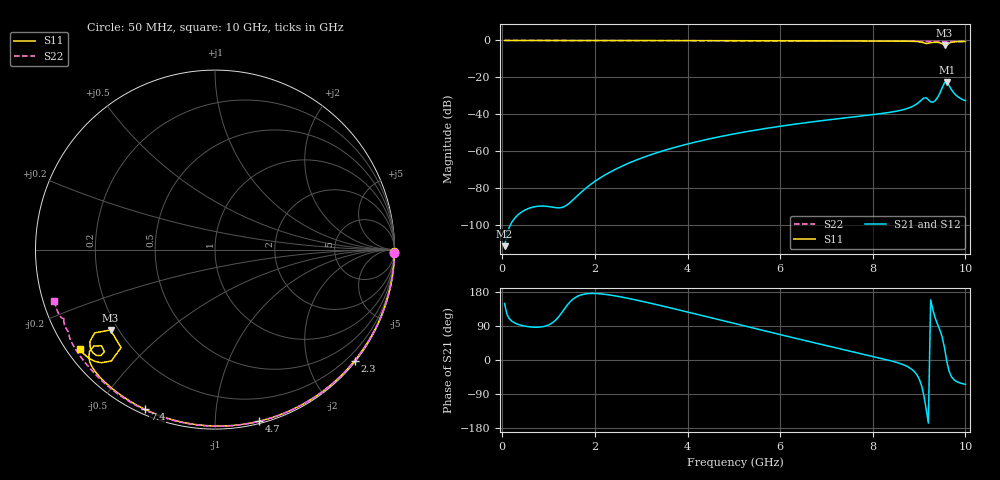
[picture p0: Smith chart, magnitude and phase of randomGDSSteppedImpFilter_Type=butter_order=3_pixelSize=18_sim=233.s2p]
! freq	dB(S11)	phase(S11)	dB(S12)	phase(S12)
!  dB(S21)	phase(S21)	dB(S22)	phase(S22)
!S-par simulation data
#  GHz  S  DB  R 50
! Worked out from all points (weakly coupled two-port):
!   200 points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, 50 MHz to 10 GHz, reference 50 ohm
!   highest |S21| = -22.59 dB at 9.6 GHz (marker M1); lowest = -111.4 dB at 50 MHz (marker M2)
!   lowest |S11| = -2.7 dB at 9.55 GHz (marker M3), VSWR 6.52, Z = 8.53 - j16.6 ohm
!   |S11| at or under -10 dB: nowhere
!   |S22| runs from -0.7 to 0.0 dB; largest |S21 - S12| = 0
!   S11 on the Smith chart (normalised r, x): 50 MHz: open; 2.3 GHz: 0.03, -2.87; 4.7 GHz: 0.02, -1.29; 7.4 GHz: 0.02, -0.65; 10 GHz: 0.04, -0.33
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0.05  -0.00 -0.9  -111.41 148.9  -111.41 148.9  -0.00 -0.9
1.75  -0.04 -29.5  -81.17 173.4  -81.17 173.4  -0.04 -32.3
1.8  -0.04 -30.3  -80.11 174.5  -80.11 174.5  -0.04 -33.2
2.3  -0.05 -38.5  -71.66 171.9  -71.66 171.9  -0.05 -42.2
2.8  -0.06 -46.5  -65.70 160.6  -65.70 160.6  -0.07 -51.0
3.4  -0.07 -56.0  -60.31 144.2  -60.31 144.2  -0.08 -61.3
4.7  -0.11 -75.7  -52.10 105.8  -52.10 105.8  -0.12 -82.7
5.05  -0.12 -80.8  -50.39 95.3  -50.39 95.3  -0.14 -88.3
6.7  -0.20 -104.2  -44.06 46.6  -44.06 46.6  -0.22 -113.6
7.4  -0.25 -113.8  -41.94 26.5  -41.94 26.5  -0.27 -124.0
8.35  -0.33 -127.2  -39.00 -0.8  -39.00 -0.8  -0.36 -138.1
8.8  -0.43 -134.6  -36.35 -21.0  -36.35 -21.0  -0.41 -144.9
9.1  -1.28 -141.5  -31.22 -91.4  -31.22 -91.4  -0.52 -149.7
9.2  -1.53 -137.3  -32.08 -166.5  -32.08 -166.5  -0.57 -150.7
9.3  -1.06 -138.2  -33.44 131.0  -33.44 131.0  -0.55 -152.1
9.35  -1.00 -139.8  -32.55 110.2  -32.55 110.2  -0.55 -152.9
9.45  -1.26 -143.7  -28.46 78.8  -28.46 78.8  -0.60 -154.6
9.55  -2.68 -142.4  -22.86 31.5  -22.86 31.5  -0.74 -155.4
9.6  -2.42 -133.8  -22.59 -4.8  -22.59 -4.8  -0.67 -155.4
9.65  -1.44 -133.0  -24.56 -30.4  -24.56 -30.4  -0.57 -156.1
9.8  -0.67 -138.9  -29.72 -56.2  -29.72 -56.2  -0.52 -159.0
10  -0.57 -143.7  -32.61 -64.2  -32.61 -64.2  -0.54 -162.3
